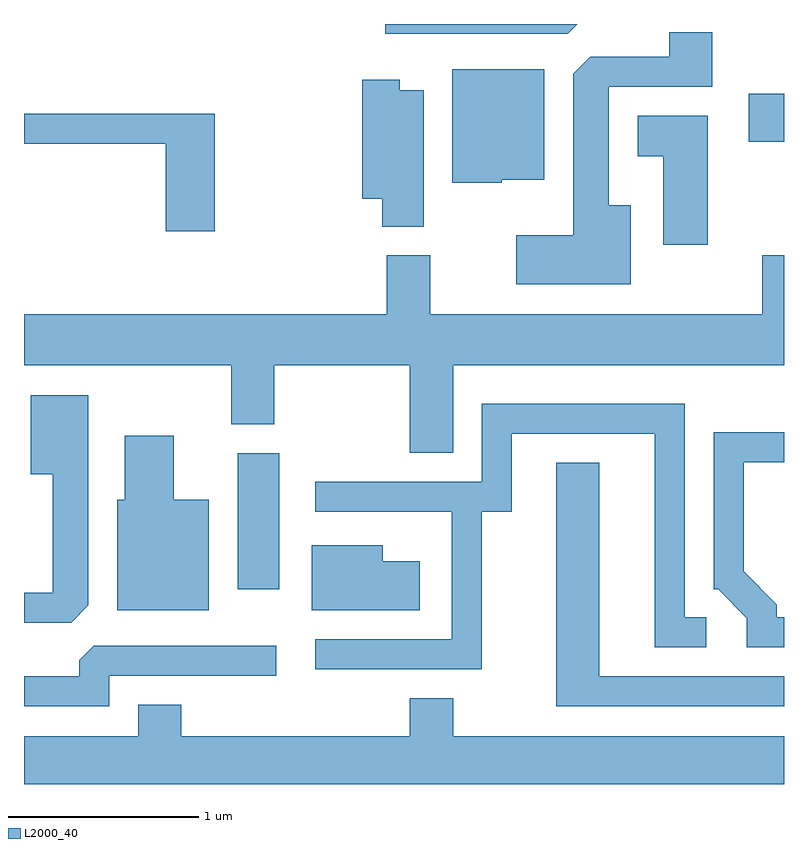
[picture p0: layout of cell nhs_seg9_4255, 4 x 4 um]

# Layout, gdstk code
import gdstk
lib = gdstk.Library(unit=1e-6, precision=1e-09)
def R(c, l, rs):  # rectangles x0, y0, x1, y1
    for r in rs: c.add(gdstk.rectangle(r[:2], r[2:], *l))
def P(c, l, *ps):  # polygons
    for p in ps: c.add(gdstk.Polygon(p, *l))
L2000_40 = (2000, 40)

nhs_seg9_4255 = lib.new_cell('nhs_seg9_4255')
R(nhs_seg9_4255, L2000_40, [(310.736,2059.456,310.954,2060.174), (313.426,2061.811,313.611,2062.064)])
P(nhs_seg9_4255, L2000_40, [(312.524,2062.432),(311.513,2062.432),(311.513,2062.381),(312.474,2062.381)],
  [(312.804,2061.479),(312.689,2061.479),(312.689,2062.101),(313.234,2062.101),(313.234,2062.389),(313.006,2062.389),(313.006,2062.259),(312.592,2062.259),(312.501,2062.169),(312.501,2061.319),(312.201,2061.319),(312.201,2061.061),(312.804,2061.061)],
  [(312.125,2061.611),(312.349,2061.611),(312.349,2062.194),(311.866,2062.194),(311.866,2061.596),(312.125,2061.596)],
  [(311.714,2062.084),(311.589,2062.084),(311.589,2062.139),(311.391,2062.139),(311.391,2061.511),(311.496,2061.511),(311.496,2061.366),(311.714,2061.366)],
  [(310.614,2061.959),(309.611,2061.959),(309.611,2061.801),(310.356,2061.801),(310.356,2061.341),(310.614,2061.341)],
  [(313.209,2061.949),(312.841,2061.949),(312.841,2061.736),(312.976,2061.736),(312.976,2061.271),(313.209,2061.271)],
  [(311.869,2060.636),(313.611,2060.636),(313.611,2061.214),(313.496,2061.214),(313.496,2060.904),(311.749,2060.904),(311.749,2061.214),(311.521,2061.214),(311.521,2060.904),(309.611,2060.904),(309.611,2060.636),(310.701,2060.636),(310.701,2060.326),(310.929,2060.326),(310.929,2060.636),(311.641,2060.636),(311.641,2060.176),(311.869,2060.176)],
  [(309.949,2059.372),(309.949,2060.479),(309.646,2060.479),(309.646,2060.061),(309.761,2060.061),(309.761,2059.439),(309.611,2059.439),(309.611,2059.281),(309.859,2059.281)],
  [(312.019,2059.866),(312.179,2059.866),(312.179,2060.276),(312.931,2060.276),(312.931,2059.151),(313.203,2059.151),(313.203,2059.309),(313.089,2059.309),(313.089,2060.434),(312.021,2060.434),(312.021,2060.024),(311.143,2060.024),(311.143,2059.866),(311.861,2059.866),(311.861,2059.194),(311.143,2059.194),(311.143,2059.036),(312.019,2059.036)],
  [(313.611,2059.309),(313.574,2059.309),(313.574,2059.376),(313.399,2059.552),(313.399,2060.126),(313.611,2060.126),(313.611,2060.284),(313.241,2060.284),(313.241,2059.456),(313.264,2059.456),(313.416,2059.304),(313.416,2059.151),(313.611,2059.151)],
  [(310.584,2059.929),(310.399,2059.929),(310.399,2060.264),(310.141,2060.264),(310.141,2059.929),(310.101,2059.929),(310.101,2059.346),(310.584,2059.346)],
  [(313.611,2058.999),(312.639,2058.999),(312.639,2060.124),(312.411,2060.124),(312.411,2058.841),(313.611,2058.841)],
  [(311.694,2059.604),(311.499,2059.604),(311.499,2059.689),(311.126,2059.689),(311.126,2059.346),(311.694,2059.346)],
  [(310.059,2059.001),(310.938,2059.001),(310.938,2059.159),(309.977,2059.159),(309.901,2059.084),(309.901,2058.999),(309.611,2058.999),(309.611,2058.841),(310.059,2058.841)],
  [(313.611,2058.684),(311.869,2058.684),(311.869,2058.884),(311.641,2058.884),(311.641,2058.684),(310.439,2058.684),(310.439,2058.849),(310.211,2058.849),(310.211,2058.684),(309.611,2058.684),(309.611,2058.432),(313.611,2058.432)])

lib.write_gds('nhs_seg9_4255.gds')
